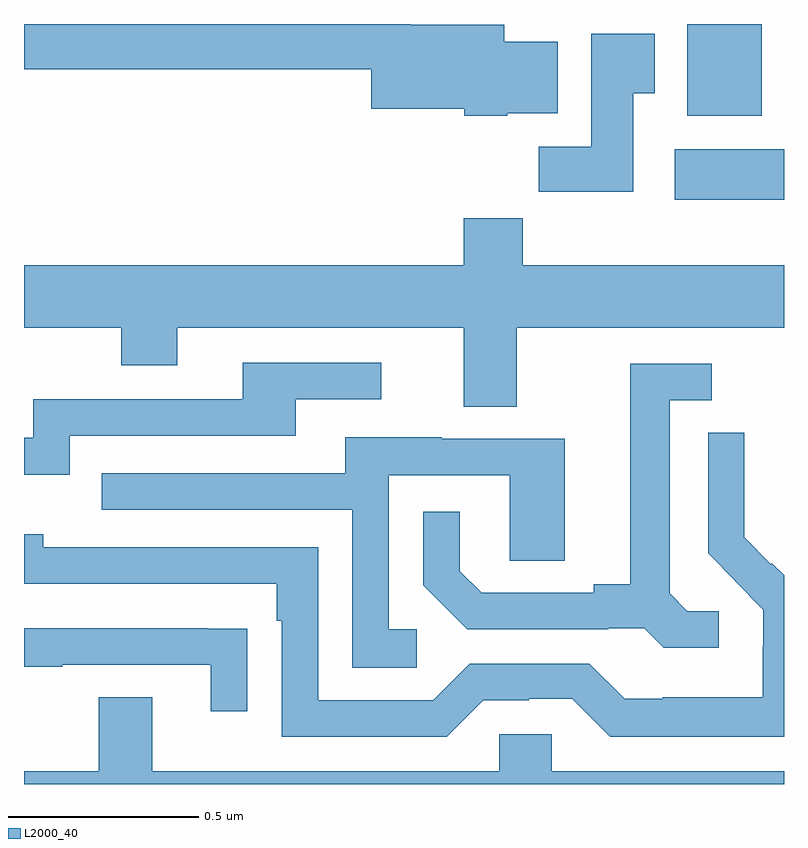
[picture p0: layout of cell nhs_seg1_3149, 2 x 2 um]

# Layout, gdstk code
import gdstk
lib = gdstk.Library(unit=1e-6, precision=1e-09)
def R(c, l, rs):  # rectangles x0, y0, x1, y1
    for r in rs: c.add(gdstk.rectangle(r[:2], r[2:], *l))
def P(c, l, *ps):  # polygons
    for p in ps: c.add(gdstk.Polygon(p, *l))
L2000_40 = (2000, 40)

nhs_seg1_3149 = lib.new_cell('nhs_seg1_3149')
R(nhs_seg1_3149, L2000_40, [(151.713,550.736,152,550.87), (151.745,550.958,151.941,551.199)])
P(nhs_seg1_3149, L2000_40, [(151.272,550.964),(151.405,550.964),(151.405,551.152),(151.264,551.152),(151.264,551.197),(151.018,551.197),(151.018,551.199),(150,551.199),(150,551.08),(150.914,551.08),(150.914,550.976),(151.158,550.976),(151.158,550.958),(151.272,550.958)],
  [(151.603,551.017),(151.66,551.017),(151.66,551.173),(151.493,551.173),(151.493,550.876),(151.354,550.876),(151.354,550.758),(151.603,550.758)],
  [(151.297,550.4),(152,550.4),(152,550.564),(151.313,550.564),(151.313,550.688),(151.157,550.688),(151.157,550.564),(150,550.564),(150,550.4),(150.256,550.4),(150.256,550.301),(150.403,550.301),(150.403,550.4),(151.157,550.4),(151.157,550.192),(151.297,550.192)],
  [(150.12,550.116),(150.715,550.116),(150.715,550.212),(150.94,550.212),(150.94,550.308),(150.575,550.308),(150.575,550.212),(150.024,550.212),(150.024,550.11),(150,550.11),(150,550.013),(150.12,550.013)],
  [(151.828,549.654),(151.746,549.654),(151.699,549.701),(151.699,550.209),(151.81,550.209),(151.81,550.305),(151.595,550.305),(151.595,549.725),(151.499,549.725),(151.499,549.702),(151.204,549.702),(151.147,549.759),(151.147,549.916),(151.05,549.916),(151.05,549.722),(151.166,549.606),(151.538,549.606),(151.538,549.609),(151.632,549.609),(151.684,549.557),(151.828,549.557)],
  [(152,549.748),(151.968,549.78),(151.965,549.777),(151.895,549.848),(151.895,549.97),(151.896,549.97),(151.896,550.124),(151.8,550.124),(151.8,549.806),(151.873,549.733),(151.872,549.732),(151.946,549.658),(151.946,549.561),(151.944,549.561),(151.944,549.427),(151.681,549.427),(151.681,549.423),(151.581,549.423),(151.488,549.516),(151.173,549.516),(151.077,549.42),(150.774,549.42),(150.774,549.822),(150.05,549.822),(150.05,549.856),(150,549.856),(150,549.726),(150.665,549.726),(150.665,549.629),(150.678,549.629),(150.678,549.324),(151.113,549.324),(151.209,549.42),(151.328,549.42),(151.328,549.423),(151.443,549.423),(151.543,549.323),(152,549.323)],
  [(151.033,549.606),(150.96,549.606),(150.96,550.011),(151.278,550.011),(151.278,549.787),(151.423,549.787),(151.423,550.107),(151.099,550.107),(151.099,550.111),(150.845,550.111),(150.845,550.017),(150.205,550.017),(150.205,549.921),(150.864,549.921),(150.864,549.505),(151.033,549.505)],
  [(150.587,549.608),(150.485,549.608),(150.485,549.609),(150,549.609),(150,549.508),(150.101,549.508),(150.101,549.513),(150.491,549.513),(150.491,549.39),(150.587,549.39)],
  [(152,549.232),(151.389,549.232),(151.389,549.33),(151.251,549.33),(151.251,549.232),(150.337,549.232),(150.337,549.427),(150.197,549.427),(150.197,549.232),(150,549.232),(150,549.199),(152,549.199)])

lib.write_gds('nhs_seg1_3149.gds')
